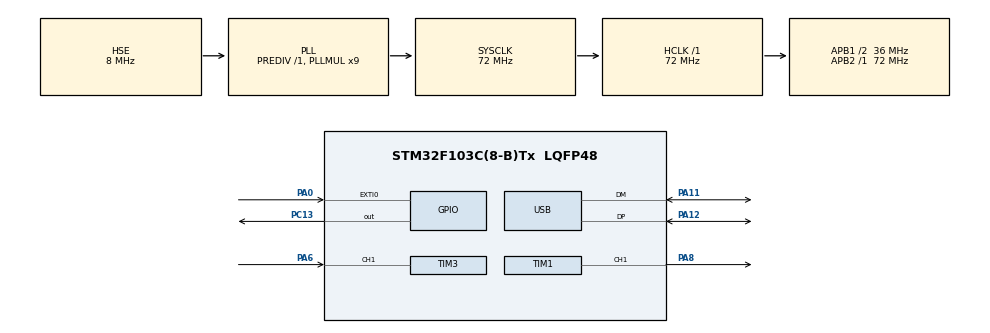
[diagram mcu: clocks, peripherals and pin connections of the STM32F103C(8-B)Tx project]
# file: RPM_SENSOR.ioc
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Mcu.Family=STM32F1
Mcu.Name=STM32F103C(8-B)Tx
Mcu.Package=LQFP48
NVIC.EXTI0_IRQn=true\:0\:0\:false\:false\:true\:true\:true\:true
NVIC.PriorityGroup=NVIC_PRIORITYGROUP_4
NVIC.TIM3_IRQn=true\:0\:0\:false\:false\:true\:true\:true\:true
NVIC.USB_LP_CAN1_RX0_IRQn=true\:0\:0\:false\:false\:true\:false\:true\:true
PA0-WKUP.GPIO_ModeDefaultEXTI=GPIO_MODE_IT_FALLING
PA0-WKUP.GPIO_PuPd=GPIO_PULLDOWN
PA0-WKUP.Signal=GPXTI0
PA11.Mode=Device
PA11.Signal=USB_DM
PA12.Mode=Device
PA12.Signal=USB_DP
PA13.Mode=Serial_Wire
PA13.Signal=SYS_JTMS-SWDIO
PA14.Mode=Serial_Wire
PA14.Signal=SYS_JTCK-SWCLK
PA6.Signal=S_TIM3_CH1
PA8.Signal=S_TIM1_CH1
PC13-TAMPER-RTC.Signal=GPIO_Output
PD0-OSC_IN.Mode=HSE-External-Oscillator
PD0-OSC_IN.Signal=RCC_OSC_IN
PD1-OSC_OUT.Mode=HSE-External-Oscillator
PD1-OSC_OUT.Signal=RCC_OSC_OUT
ProjectManager.HeapSize=0x200
ProjectManager.StackSize=0x400
ProjectManager.TargetToolchain=STM32CubeIDE
RCC.AHBFreq_Value=72000000
RCC.APB1CLKDivider=RCC_HCLK_DIV2
RCC.APB1Freq_Value=36000000
RCC.APB1TimFreq_Value=72000000
RCC.APB2Freq_Value=72000000
RCC.APB2TimFreq_Value=72000000
RCC.HCLKFreq_Value=72000000
RCC.PLLMUL=RCC_PLL_MUL9
RCC.SYSCLKFreq_VALUE=72000000
RCC.SYSCLKSource=RCC_SYSCLKSOURCE_PLLCLK
RCC.USBFreq_Value=48000000
RCC.USBPrescaler=RCC_USBCLKSOURCE_PLL_DIV1_5
SH.S_TIM1_CH1.0=TIM1_CH1,PWM Generation1 CH1
SH.S_TIM3_CH1.0=TIM3_CH1,Input_Capture1_from_TI1
TIM1.Channel-PWM\ Generation1\ CH1=TIM_CHANNEL_1
TIM1.Period=1439
TIM1.Prescaler=1439
TIM3.Channel-Input_Capture1_from_TI1=TIM_CHANNEL_1
TIM3.ICFilter_CH1=8
TIM3.ICPolarity_CH1=TIM_INPUTCHANNELPOLARITY_FALLING
TIM3.Prescaler=71
USB_DEVICE.CLASS_NAME_FS=CDC
USB_DEVICE.PRODUCT_STRING_CDC_FS=STM32 Virtual Port
USB_DEVICE.VirtualMode=Cdc
USB_DEVICE.VirtualModeFS=Cdc_FS
VP_USB_DEVICE_VS_USB_DEVICE_CDC_FS.Mode=CDC_FS
board=custom

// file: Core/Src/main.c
/* USER CODE BEGIN Header */
/**
  ******************************************************************************
  * @file           : main.c
  * @brief          : Main program body
  ******************************************************************************
  * @attention
  *
  * Copyright (c) 2025 STMicroelectronics.
  * All rights reserved.
  *
  * This software is licensed under terms that can be found in the LICENSE file
  * in the root directory of this software component.
  * If no LICENSE file comes with this software, it is provided AS-IS.
  *
  ******************************************************************************
  */
/* USER CODE END Header */
#include "main.h"
#include "tim.h"
#include "usb_device.h"
#include "gpio.h"

/* USER CODE BEGIN Includes */

#include "usbd_cdc_if.h"
#include <string.h>
#include <stdio.h>

/* USER CODE END Includes */

/* USER CODE BEGIN PV */

volatile uint16_t currentPulse = 1000;
volatile uint32_t lastTick = 0;
volatile uint32_t rpm = 0;
char msg[64];

// Valores de descarte
#define DIFF_MIN_MS 2 		// Intervalo menor a 2 [ms] --> RPM>30k
#define DIFF_MAX_MS 2000   // Intervalo mayor a 2 [s]

/* --- Config específica de RPM --- */
#define TIMER_TICK_HZ     1000000UL  // 1 MHz (1 us/tick) por PSC=71 con timer_clk=72 MHz
#define TIMER_MAX_COUNT   65536UL    // 16 bits -> 0..65535 => 65536 cuentas
#define PULSOS_POR_REV    1          // ajustá según tu rueda/marca (1 si 1 pulso por vuelta)

// Variables para medición por captura
volatile uint32_t ic_overflows = 0;          // cuántos overflows desde el arranque
volatile uint32_t last_abs_count = 0;        // cuenta absoluta (captura + overflows previos)
volatile uint8_t  first_capture = 1;         // para inicializar
volatile float    rpm_inst = 0.0f;           // RPM instantánea calculada

// (Opcional) filtro exponencial para suavizar
#define ALFA  0.2f
float rpm_filtrada = 0.0f;

extern volatile float rpm_inst;
extern float rpm_filtrada;

/* USER CODE END PV */

void SystemClock_Config(void);

/* USER CODE BEGIN 0 */

void PWM_SetPulse_us(uint16_t pulse_us) {
    // CCR = pulse_us / 1 µs * factor de timer
    // Si TIM1 está a 72 MHz con prescaler= 71, entonces 1 tick = 1 µs
    if (pulse_us < 1000) pulse_us = 1000;
    if (pulse_us > 2000) pulse_us = 2000;
    __HAL_TIM_SET_COMPARE(&htim1, TIM_CHANNEL_1, pulse_us);
    currentPulse = pulse_us;
}

void HAL_GPIO_EXTI_Callback(uint16_t GPIO_Pin) {
    if (GPIO_Pin == GPIO_PIN_0) {  // Verifica que sea nuestro PA0
        uint32_t now = HAL_GetTick();  // tiempo actual en ms
        uint32_t diff = now - lastTick;

        if (diff >= DIFF_MIN_MS && diff <= DIFF_MAX_MS) {
            rpm = 60000 / diff;
        } else {
            rpm = 0; // fuera de rango o timeout
        }
        lastTick = now;
    }
}

/* USER CODE END 0 */

int main(void)
{

  /* MCU Configuration--------------------------------------------------------*/

  /* Reset of all peripherals, Initializes the Flash interface and the Systick. */
  HAL_Init();

  /* Configure the system clock */
  SystemClock_Config();

  /* Initialize all configured peripherals */
  MX_GPIO_Init();
  MX_USB_DEVICE_Init();
  MX_TIM1_Init();
  MX_TIM3_Init();
  /* USER CODE BEGIN 2 */
  HAL_TIM_IC_Start_IT(&htim3, TIM_CHANNEL_1);

  /* USER CODE END 2 */

  /* Infinite loop */
  /* USER CODE BEGIN WHILE */
  while (1)
  {
	  	  if (HAL_GetTick() - t0 >= 100)   // cada 100 ms
	      {
	        t0 += 100;

	        // snapshot atómico
	        float rpm_send;
	        __disable_irq();
	        rpm_send = rpm_filtrada;       // o rpm_inst si querés cruda
	        __enable_irq();

	        // Para evitar depender de printf con float, mando milésimas de RPM:
	        int rpm_mil = (int)(rpm_send * 1000.0f);

	        char msg[64];
	        int len = snprintf(msg, sizeof(msg), "RPMx1000:%d\r\n", rpm_mil);

	        // Enviar por USB-CDC
	        // Nota: CDC_Transmit_FS devuelve USBD_OK o USBD_BUSY; si está ocupado, podés reintentar o descartar.
	        if (len > 0) {
	          uint8_t status = CDC_Transmit_FS((uint8_t*)msg, (uint16_t)len);
	          (void)status; // si querés, chequeá USBD_BUSY para reintentar
	        }

    /* USER CODE END WHILE */

  }
}

void SystemClock_Config(void)
{
  RCC_OscInitTypeDef RCC_OscInitStruct = {0};
  RCC_ClkInitTypeDef RCC_ClkInitStruct = {0};
  RCC_PeriphCLKInitTypeDef PeriphClkInit = {0};

  /** Initializes the RCC Oscillators according to the specified parameters
  * in the RCC_OscInitTypeDef structure.
  */
  RCC_OscInitStruct.OscillatorType = RCC_OSCILLATORTYPE_HSE;
  RCC_OscInitStruct.HSEState = RCC_HSE_ON;
  RCC_OscInitStruct.HSEPredivValue = RCC_HSE_PREDIV_DIV1;
  RCC_OscInitStruct.HSIState = RCC_HSI_ON;
  RCC_OscInitStruct.PLL.PLLState = RCC_PLL_ON;
  RCC_OscInitStruct.PLL.PLLSource = RCC_PLLSOURCE_HSE;
  RCC_OscInitStruct.PLL.PLLMUL = RCC_PLL_MUL9;
  if (HAL_RCC_OscConfig(&RCC_OscInitStruct) != HAL_OK)
  {
    Error_Handler();
  }

  /** Initializes the CPU, AHB and APB buses clocks
  */
  RCC_ClkInitStruct.ClockType = RCC_CLOCKTYPE_HCLK|RCC_CLOCKTYPE_SYSCLK
                              |RCC_CLOCKTYPE_PCLK1|RCC_CLOCKTYPE_PCLK2;
  RCC_ClkInitStruct.SYSCLKSource = RCC_SYSCLKSOURCE_PLLCLK;
  RCC_ClkInitStruct.AHBCLKDivider = RCC_SYSCLK_DIV1;
  RCC_ClkInitStruct.APB1CLKDivider = RCC_HCLK_DIV2;
  RCC_ClkInitStruct.APB2CLKDivider = RCC_HCLK_DIV1;

  if (HAL_RCC_ClockConfig(&RCC_ClkInitStruct, FLASH_LATENCY_2) != HAL_OK)
  {
    Error_Handler();
  }
  PeriphClkInit.PeriphClockSelection = RCC_PERIPHCLK_USB;
  PeriphClkInit.UsbClockSelection = RCC_USBCLKSOURCE_PLL_DIV1_5;
  if (HAL_RCCEx_PeriphCLKConfig(&PeriphClkInit) != HAL_OK)
  {
    Error_Handler();
  }
}

/* USER CODE BEGIN 4 */
// Se llama en cada OVERFLOW (Update Event) del TIM3
void HAL_TIM_PeriodElapsedCallback(TIM_HandleTypeDef *htim)
{
  if (htim->Instance == TIM3) {
    ic_overflows++;   // acumulamos overflows para construir el "contador absoluto"
  }
}

// Se llama en cada CAPTURA (flanco en CH1)
void HAL_TIM_IC_CaptureCallback(TIM_HandleTypeDef *htim)
{
  if (htim->Instance == TIM3 && htim->Channel == HAL_TIM_ACTIVE_CHANNEL_1) {

    // 1) Leo el valor capturado (0..65535)
    uint32_t cap = HAL_TIM_ReadCapturedValue(htim, TIM_CHANNEL_1);

    // 2) Tomo un snapshot atómico del contador de overflows
    //    (la secuencia minimiza race conditions con overflow justo entre lectura y uso)
    __disable_irq();
    uint32_t of = ic_overflows;
    // Si justo ocurrió overflow y la captura pertenece al período anterior,
    // ajustamos el conteo. (HAL ya latchea, esto es por seguridad)
    if (__HAL_TIM_GET_FLAG(htim, TIM_FLAG_UPDATE) != RESET &&
        __HAL_TIM_GET_IT_SOURCE(htim, TIM_IT_UPDATE) != RESET &&
        __HAL_TIM_GET_COUNTER(htim) < cap) {
      of++;
    }
    __enable_irq();

    // 3) Construyo el conteo absoluto (en ticks de 1 us)
    //    abs_count = of * 65536 + cap
    uint32_t abs_count = of * TIMER_MAX_COUNT + cap;

    // 4) Cálculo del período (delta de ticks) contra la captura anterior
    if (!first_capture) {
      uint32_t delta_ticks = abs_count - last_abs_count;   // en 1 us/tick

      if (delta_ticks > 0) {
        // f = 1 / periodo;   rpm = f * 60 / PPR
        // periodo_us = delta_ticks (porque 1 tick = 1 us)
        // rpm = 60e6 / (delta_us * PPR)
        float rpm = (60.0f * 1000000.0f) / ((float)delta_ticks * (float)PULSOS_POR_REV);

        rpm_inst = rpm;
        // filtro simple para suavizar
        rpm_filtrada = (ALFA * rpm_inst) + (1.0f - ALFA) * rpm_filtrada;
      }
    } else {
      first_capture = 0;
      rpm_filtrada = 0.0f;
    }

    // 5) Guardar para la próxima
    last_abs_count = abs_count;
  }
}

/* USER CODE END 4 */

void Error_Handler(void)
{
  __disable_irq();
  while (1)
  {
  }
}
